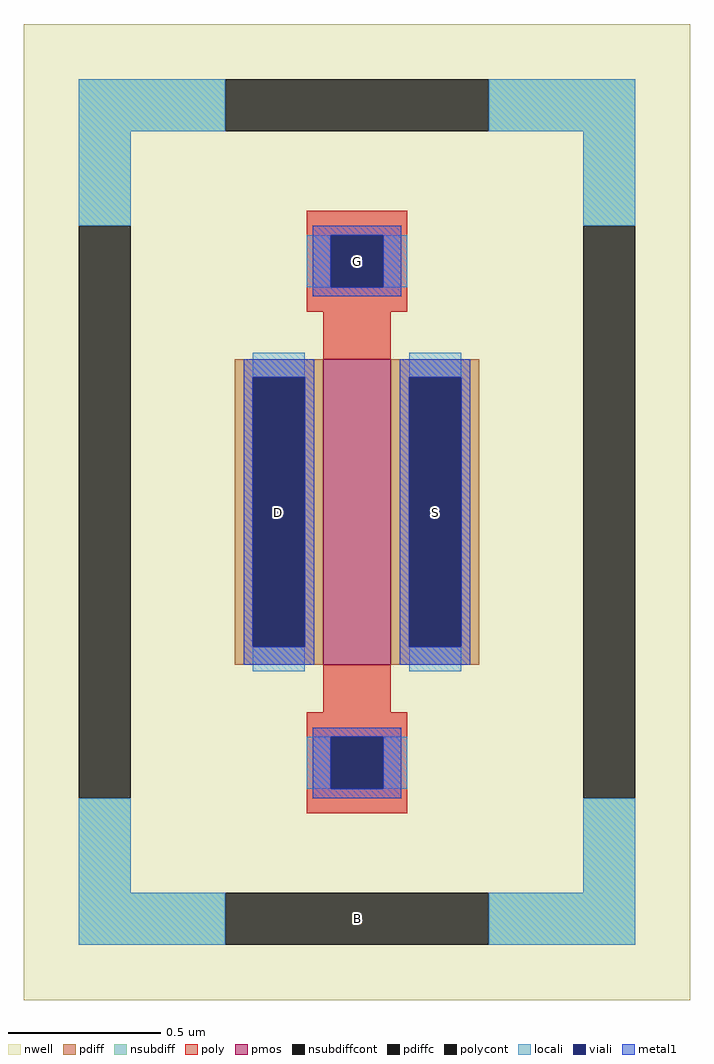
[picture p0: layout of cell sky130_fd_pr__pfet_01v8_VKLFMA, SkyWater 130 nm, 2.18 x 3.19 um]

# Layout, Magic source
magic
tech sky130A
magscale 1 2
<< nwell >>
rect -218 -319 218 319
<< pmos >>
rect -22 -100 22 100
<< pdiff >>
rect -80 88 -22 100
rect -80 -88 -68 88
rect -34 -88 -22 88
rect -80 -100 -22 -88
rect 22 88 80 100
rect 22 -88 34 88
rect 68 -88 80 88
rect 22 -100 80 -88
<< pdiffc >>
rect -68 -88 -34 88
rect 34 -88 68 88
<< nsubdiff >>
rect -182 249 -86 283
rect 86 249 182 283
rect -182 187 -148 249
rect 148 187 182 249
rect -182 -249 -148 -187
rect 148 -249 182 -187
rect -182 -283 -86 -249
rect 86 -283 182 -249
<< nsubdiffcont >>
rect -86 249 86 283
rect -182 -187 -148 187
rect 148 -187 182 187
rect -86 -283 86 -249
<< poly >>
rect -33 181 33 197
rect -33 147 -17 181
rect 17 147 33 181
rect -33 131 33 147
rect -22 100 22 131
rect -22 -131 22 -100
rect -33 -147 33 -131
rect -33 -181 -17 -147
rect 17 -181 33 -147
rect -33 -197 33 -181
<< polycont >>
rect -17 147 17 181
rect -17 -181 17 -147
<< locali >>
rect -182 249 -86 283
rect 86 249 182 283
rect -182 187 -148 249
rect 148 187 182 249
rect -33 147 -17 181
rect 17 147 33 181
rect -68 88 -34 104
rect -68 -104 -34 -88
rect 34 88 68 104
rect 34 -104 68 -88
rect -33 -181 -17 -147
rect 17 -181 33 -147
rect -182 -249 -148 -187
rect 148 -249 182 -187
rect -182 -283 -86 -249
rect 86 -283 182 -249
<< viali >>
rect -17 147 17 181
rect -68 -88 -34 88
rect 34 -88 68 88
rect -17 -181 17 -147
<< metal1 >>
rect -29 181 29 187
rect -29 147 -17 181
rect 17 147 29 181
rect -29 141 29 147
rect -74 88 -28 100
rect -74 -88 -68 88
rect -34 -88 -28 88
rect -74 -100 -28 -88
rect 28 88 74 100
rect 28 -88 34 88
rect 68 -88 74 88
rect 28 -100 74 -88
rect -29 -147 29 -141
rect -29 -181 -17 -147
rect 17 -181 29 -147
rect -29 -187 29 -181
<< labels >>
rlabel nsubdiffcont 0 -266 0 -266 0 B
port 1 nsew
rlabel pdiffc -51 0 -51 0 0 D
port 2 nsew
rlabel pdiffc 51 0 51 0 0 S
port 3 nsew
rlabel polycont 0 164 0 164 0 G
port 4 nsew
<< properties >>
string FIXED_BBOX -165 -266 165 266
string gencell sky130_fd_pr__pfet_01v8
string library sky130
string parameters w 1 l 0.22 m 1 nf 1 diffcov 100 polycov 100 guard 1 glc 1 grc 1 gtc 1 gbc 1 tbcov 100 rlcov 100 topc 1 botc 1 poverlap 0 doverlap 1 lmin 0.15 wmin 0.42 class mosfet compatible {sky130_fd_pr__pfet_01v8  sky130_fd_pr__pfet_01v8_lvt sky130_fd_pr__pfet_01v8_hvt  sky130_fd_pr__pfet_g5v0d10v5} full_metal 1 conn_gates 0 viasrc 100 viadrn 100 viagate 100 viagb 0 viagr 0 viagl 0 viagt 0 doports 1
<< end >>
